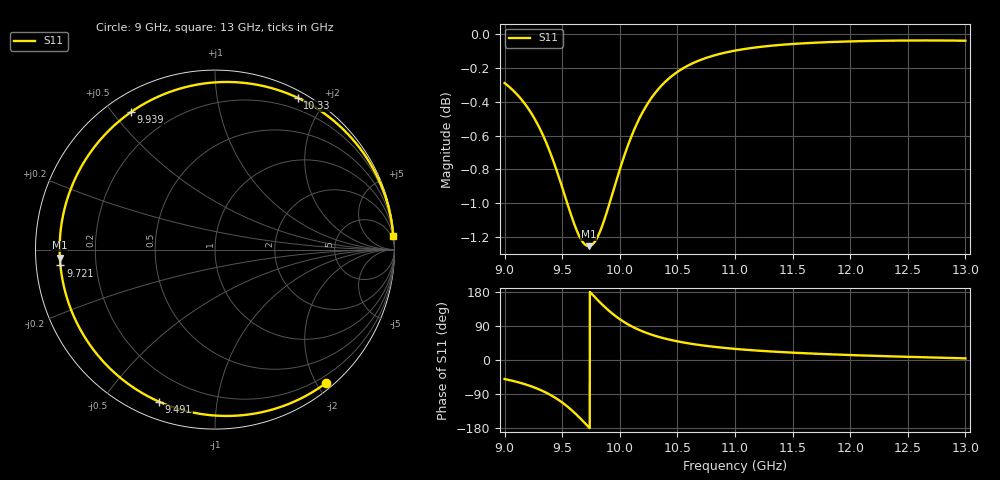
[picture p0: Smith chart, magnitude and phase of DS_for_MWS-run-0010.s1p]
! TOUCHSTONE file generated by CST DESIGN STUDIO
! Date and time: Tue Feb  4 18:30:45 2025
! Project name: C:\Work\MatlabApps\UnitCellOptimizationMatlab\CST\unitcell.cst
! Tree item: Tasks\Sweep1\SPara1\S-Parameters
! Header version: 2024
! Port assignment regex: !\s*Touchstone port\s*([0-9]+)\s*=\s*(CST MWS port|CST DES external port|CST DES block port)\s*(.+)\s* \(\"(.*)\"\)(\s*mode\s*([0-9]+))?.*
! Touchstone port assignment:
! Touchstone port 1 = CST DES external port 1 ("")
# GHz S MA R 50
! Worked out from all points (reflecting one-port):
!   4001 points, 9 GHz to 13 GHz, reference 50 ohm
!   lowest |S11| = -1.3 dB at 9.73 GHz (marker M1), VSWR 13.88, Z = 3.6 - j1.28 ohm
!   phase of S11 starts at -50 deg and turns -305 deg over the sweep
!   S11 on the Smith chart (normalised r, x): 9 GHz: 0.09, -2.13; 9.491 GHz: 0.08, -0.69; 9.721 GHz: 0.07, -0.05; 9.939 GHz: 0.07, +0.56; 10.33 GHz: 0.07, +1.68; 13 GHz: 2, +26
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9  0.9671 -50.2
9.135  0.9574 -60.2
9.261  0.9439 -72.8
9.391  0.9234 -91.1
9.443  0.9132 -100.4
9.491  0.9029 -110.2
9.5  0.9009 -112.2
9.553  0.8892 -124.8
9.605  0.8786 -138.8
9.666  0.8693 -156.8
9.721  0.8657 -174.2
9.73  0.8656 -177.0
9.775  0.8675 168.6
9.822  0.8733 153.9
9.881  0.8845 136.7
9.939  0.8978 121.5
10  0.912 107.7
10.074  0.9277 93.6
10.163  0.9431 80.0
10.245  0.9541 70.0
10.333  0.9631 61.4
10.5  0.9745 49.2
10.718  0.983 38.5
11  0.9887 29.3
11.5  0.9932 19.4
12  0.9949 13.1
12.5  0.9955 8.3
13  0.9954 4.3
